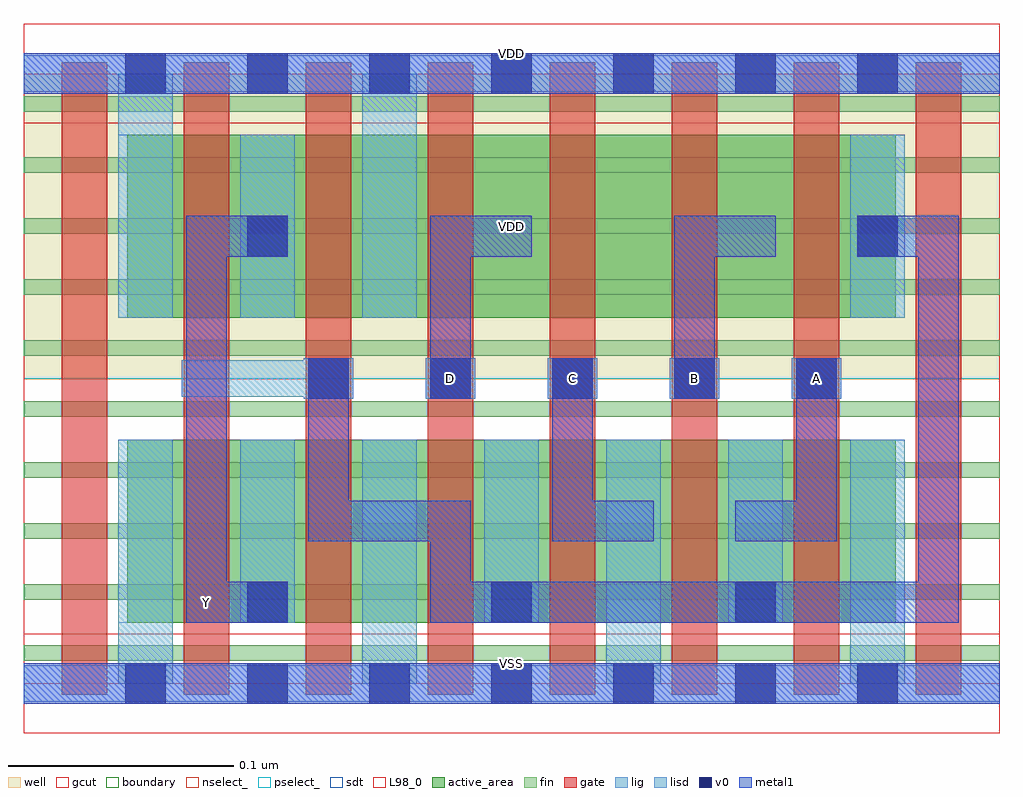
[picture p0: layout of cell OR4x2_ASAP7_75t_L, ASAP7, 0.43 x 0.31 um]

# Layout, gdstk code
import gdstk
lib = gdstk.Library(unit=1e-6, precision=2.5e-10)
def R(c, l, rs):  # rectangles x0, y0, x1, y1
    for r in rs: c.add(gdstk.rectangle(r[:2], r[2:], *l))
def A(c, l, x, y, w, h, nx, ny, dx, dy):  # array of equal rectangles
    R(c, l, [(x+i*dx, y+j*dy, x+i*dx+w, y+j*dy+h) for i in range(nx) for j in range(ny)])
def P(c, l, *ps):  # polygons
    for p in ps: c.add(gdstk.Polygon(p, *l))
well = (1, 0)
fin = (2, 0)
gate = (7, 0)
gcut = (10, 0)
active_area = (11, 0)
nselect_ = (12, 0)
pselect_ = (13, 0)
lig = (16, 0)
lisd = (17, 0)
v0 = (18, 0)
metal1 = (19, 0)
sdt = (88, 0)
L98_0 = (98, 0)
boundary = (100, 0)

or4x2_asap7_75t_l = lib.new_cell('OR4x2_ASAP7_75t_L')
R(or4x2_asap7_75t_l, well, [(0,0.135,0.432,0.27)])
A(or4x2_asap7_75t_l, fin, 0, 0.01, 0.432, 0.007, 1, 10, 0, 0.027)
A(or4x2_asap7_75t_l, gate, 0.017, -0.005, 0.02, 0.28, 8, 1, 0.054, 0)
R(or4x2_asap7_75t_l, gcut, [(0,-0.022,0.432,0.022), (0,0.248,0.432,0.292)])
R(or4x2_asap7_75t_l, active_area, [(0.046,0.027,0.386,0.108), (0.046,0.162,0.386,0.243)])
R(or4x2_asap7_75t_l, nselect_, [(0,0,0.432,0.135)])
R(or4x2_asap7_75t_l, pselect_, [(0,0.135,0.432,0.27)])
A(or4x2_asap7_75t_l, lig, 0.124, 0.126, 0.022, 0.018, 5, 1, 0.054, 0)
R(or4x2_asap7_75t_l, lig, [(0,-0.008,0.432,0.008), (0.07,0.127,0.146,0.143), (0,0.262,0.432,0.278)])
A(or4x2_asap7_75t_l, lisd, 0.096, 0.027, 0.024, 0.081, 3, 1, 0.108, 0)
R(or4x2_asap7_75t_l, lisd, [(0.042,0,0.066,0.108), (0.042,0,0.066,0.108), (0.15,0,0.174,0.108), (0.15,0,0.174,0.108), (0.258,0,0.282,0.108), (0.258,0,0.282,0.108), (0.366,0,0.39,0.108), (0.366,0,0.39,0.108), (0.042,0.162,0.066,0.27), (0.042,0.162,0.066,0.27), (0.096,0.162,0.12,0.243), (0.15,0.162,0.174,0.27), (0.15,0.162,0.174,0.27), (0.366,0.162,0.39,0.243)])
A(or4x2_asap7_75t_l, v0, 0.045, -0.009, 0.018, 0.018, 7, 2, 0.054, 0.27)
A(or4x2_asap7_75t_l, v0, 0.099, 0.027, 0.018, 0.018, 3, 1, 0.108, 0)
A(or4x2_asap7_75t_l, v0, 0.126, 0.126, 0.018, 0.018, 5, 1, 0.054, 0)
R(or4x2_asap7_75t_l, v0, [(0.099,0.189,0.117,0.207), (0.369,0.189,0.387,0.207)])
A(or4x2_asap7_75t_l, metal1, 0.099, 0.027, 0.018, 0.018, 3, 1, 0.108, 0)
A(or4x2_asap7_75t_l, metal1, 0.126, 0.126, 0.018, 0.018, 5, 1, 0.054, 0)
R(or4x2_asap7_75t_l, metal1, [(0,-0.009,0.432,0.009), (0.099,0.189,0.117,0.207), (0.369,0.189,0.387,0.207), (0,0.261,0.432,0.279)])
P(or4x2_asap7_75t_l, metal1, [(0.369,0.207),(0.369,0.189),(0.396,0.189),(0.396,0.045),(0.198,0.045),(0.198,0.081),(0.144,0.081),(0.144,0.144),(0.126,0.144),(0.126,0.063),(0.18,0.063),(0.18,0.027),(0.414,0.027),(0.414,0.207)],
  [(0.117,0.045),(0.09,0.045),(0.09,0.189),(0.117,0.189),(0.117,0.207),(0.072,0.207),(0.072,0.027),(0.117,0.027)],
  [(0.198,0.189),(0.225,0.189),(0.225,0.207),(0.18,0.207),(0.18,0.126),(0.198,0.126)],
  [(0.279,0.081),(0.252,0.081),(0.252,0.144),(0.234,0.144),(0.234,0.063),(0.279,0.063)],
  [(0.306,0.189),(0.333,0.189),(0.333,0.207),(0.288,0.207),(0.288,0.126),(0.306,0.126)],
  [(0.342,0.144),(0.342,0.081),(0.315,0.081),(0.315,0.063),(0.36,0.063),(0.36,0.144)])
A(or4x2_asap7_75t_l, sdt, 0.042, 0.027, 0.024, 0.081, 3, 2, 0.054, 0.135)
A(or4x2_asap7_75t_l, sdt, 0.15, 0.027, 0.024, 0.081, 3, 1, 0.054, 0)
A(or4x2_asap7_75t_l, sdt, 0.258, 0.027, 0.024, 0.081, 3, 1, 0.054, 0)
R(or4x2_asap7_75t_l, sdt, [(0.042,0.027,0.066,0.108), (0.366,0.027,0.39,0.108), (0.042,0.162,0.066,0.243), (0.15,0.162,0.174,0.243), (0.366,0.162,0.39,0.243)])
R(or4x2_asap7_75t_l, L98_0, [(0,0,0.432,0.27)])
R(or4x2_asap7_75t_l, boundary, [(0,0,0.432,0.27)])
or4x2_asap7_75t_l.add(gdstk.Label('VDD', (0.216,0.2025), layer=1, texttype=251))
or4x2_asap7_75t_l.add(gdstk.Label('VSS', (0.216,-0.0675), layer=3, texttype=251))
or4x2_asap7_75t_l.add(gdstk.Label('VSS', (0.216,0.009), layer=19, texttype=251))
or4x2_asap7_75t_l.add(gdstk.Label('VDD', (0.216,0.279), layer=19, texttype=251))
or4x2_asap7_75t_l.add(gdstk.Label('Y', (0.081,0.036), layer=19, texttype=251))
or4x2_asap7_75t_l.add(gdstk.Label('D', (0.189,0.135), layer=19, texttype=251))
or4x2_asap7_75t_l.add(gdstk.Label('C', (0.243,0.135), layer=19, texttype=251))
or4x2_asap7_75t_l.add(gdstk.Label('B', (0.297,0.135), layer=19, texttype=251))
or4x2_asap7_75t_l.add(gdstk.Label('A', (0.351,0.135), layer=19, texttype=251))

lib.write_gds('OR4x2_ASAP7_75t_L.gds')
